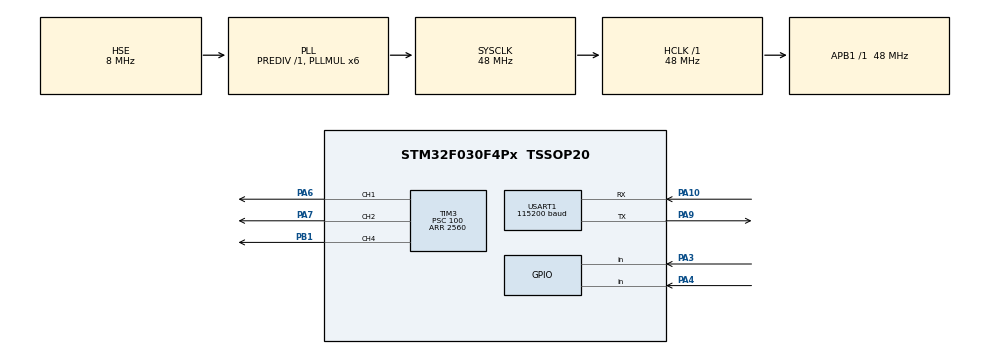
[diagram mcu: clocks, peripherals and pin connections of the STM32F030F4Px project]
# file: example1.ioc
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Mcu.Family=STM32F0
Mcu.Name=STM32F030F4Px
Mcu.Package=TSSOP20
NVIC.USART1_IRQn=true\:0\:0\:false\:false\:true\:true\:true\:true
PA10.Mode=Asynchronous
PA10.Signal=USART1_RX
PA13.Mode=Serial_Wire
PA13.Signal=SYS_SWDIO
PA14.Mode=Serial_Wire
PA14.Signal=SYS_SWCLK
PA3.GPIO_PuPd=GPIO_PULLUP
PA3.Signal=GPIO_Input
PA4.GPIO_PuPd=GPIO_PULLUP
PA4.Signal=GPIO_Input
PA6.Signal=S_TIM3_CH1
PA7.Signal=S_TIM3_CH2
PA9.Mode=Asynchronous
PA9.Signal=USART1_TX
PB1.Signal=S_TIM3_CH4
PF0-OSC_IN.Mode=HSE-External-Oscillator
PF0-OSC_IN.Signal=RCC_OSC_IN
PF1-OSC_OUT.Mode=HSE-External-Oscillator
PF1-OSC_OUT.Signal=RCC_OSC_OUT
ProjectManager.HeapSize=0x200
ProjectManager.StackSize=0x400
ProjectManager.TargetToolchain=MDK-ARM V5.32
RCC.AHBFreq_Value=48000000
RCC.APB1Freq_Value=48000000
RCC.APB1TimFreq_Value=48000000
RCC.HCLKFreq_Value=48000000
RCC.PLLMUL=RCC_PLL_MUL6
RCC.PLLSourceVirtual=RCC_PLLSOURCE_HSE
RCC.SYSCLKFreq_VALUE=48000000
RCC.SYSCLKSource=RCC_SYSCLKSOURCE_PLLCLK
SH.S_TIM3_CH1.0=TIM3_CH1,PWM Generation1 CH1
SH.S_TIM3_CH2.0=TIM3_CH2,PWM Generation2 CH2
SH.S_TIM3_CH4.0=TIM3_CH4,PWM Generation4 CH4
TIM3.Channel-PWM\ Generation1\ CH1=TIM_CHANNEL_1
TIM3.Channel-PWM\ Generation2\ CH2=TIM_CHANNEL_2
TIM3.Channel-PWM\ Generation4\ CH4=TIM_CHANNEL_4
TIM3.Period=2560
TIM3.Prescaler=100
USART1.BaudRate=115200
USART1.VirtualMode-Asynchronous=VM_ASYNC
board=custom

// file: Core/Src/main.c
/* USER CODE BEGIN Header */
/**
  ******************************************************************************
  * @file           : main.c
  * @brief          : Main program body
  ******************************************************************************
  * @attention
  *
  * Copyright (c) 2025 STMicroelectronics.
  * All rights reserved.
  *
  * This software is licensed under terms that can be found in the LICENSE file
  * in the root directory of this software component.
  * If no LICENSE file comes with this software, it is provided AS-IS.
  *
  ******************************************************************************
  */
/* USER CODE END Header */
#include "main.h"

/* USER CODE BEGIN Includes */
#include "wexcube.h"
#include "ds18b20.h"
/* USER CODE END Includes */

/* USER CODE BEGIN PD */
// 设备控制页面控件ID
#define TEXT_ID       2   // 文本框 ID
#define SWITCH_ID     5   // 开关ID
#define SLIDER_ID     7   // 滑动条ID
#define COLOR1_ID			9		// 颜色1
#define COLOR2_ID			10	// 颜色2
#define COLOR3_ID			11	// 颜色3
#define COLOR4_ID			12	// 颜色4
#define COLOR5_ID			13	// 颜色5
#define COLOR6_ID			14	// 颜色6
#define COLOR7_ID			15	// 颜色7
#define COLOR8_ID			16	// 颜色8
#define COLOR9_ID			17	// 颜色9
#define COLOR10_ID		18	// 颜色10
#define MODEL1_ID			20	// 模式1
#define MODEL2_ID			22	// 模式2
/* USER CODE END PD */

TIM_HandleTypeDef htim3;

UART_HandleTypeDef huart1;

void SystemClock_Config(void);
static void MX_GPIO_Init(void);
static void MX_TIM3_Init(void);
static void MX_USART1_UART_Init(void);
static void MX_NVIC_Init(void);
/* USER CODE BEGIN PFP */
static void updateLED(wex_u8_t ucRed, wex_u8_t ucGreen, wex_u8_t ucBlue, wex_u8_t ucLevel);
/* USER CODE END PFP */

int main(void)
{

  /* USER CODE BEGIN 1 */
	wex_u8_t lightOn		= 0;
  wex_u8_t lightLevel = 0;
	wex_u8_t model 			= 0;			// 0 - 正常，1 - 呼吸
	wex_u8_t ledRGB[3] 	= {255, 255, 255};
  /* USER CODE END 1 */

  /* MCU Configuration--------------------------------------------------------*/

  /* Reset of all peripherals, Initializes the Flash interface and the Systick. */
  HAL_Init();

  /* Configure the system clock */
  SystemClock_Config();

  /* Initialize all configured peripherals */
  MX_GPIO_Init();
  MX_TIM3_Init();
  MX_USART1_UART_Init();

	/* Initialize interrupts */
  MX_NVIC_Init();
  /* USER CODE BEGIN 2 */

	HAL_TIM_PWM_Start(&htim3, TIM_CHANNEL_1);
	HAL_TIM_PWM_Start(&htim3, TIM_CHANNEL_2);
	HAL_TIM_PWM_Start(&htim3, TIM_CHANNEL_4);

	wex_init();
	wex_start();

	// 开启接收中断
	__HAL_UART_ENABLE_IT(&huart1, UART_IT_RXNE);

  /* USER CODE END 2 */

  /* Infinite loop */
  /* USER CODE BEGIN WHILE */
  while (1)
  {
		const t_sWexCmd *pWexCmd = wex_process();
    switch (pWexCmd->eCmdType)
    {
			case eWexCmd_Connect:       		// WeXCube 连接指令
			{
				wex_setValue(SWITCH_ID, lightOn);
				wex_setValue(SLIDER_ID, lightLevel);
				if (model == 0)
				{
					wex_setBackColor(MODEL1_ID, eWexColor_Green);
					wex_setBackColor(MODEL2_ID, eWexColor_Gray2);
				}
				else
				{
					wex_setBackColor(MODEL1_ID, eWexColor_Gray2);
					wex_setBackColor(MODEL2_ID, eWexColor_Green);
				}
			}
      break;

			case eWexCmd_Event:         // 控件事件触发
      {
        switch (pWexCmd->ucCtrlId)
        {
					case SWITCH_ID:         // 开关控件
					{
						if (pWexCmd->ucValue)
						{
							lightOn     = 1;
							lightLevel  = 25;
						}
						else
						{
							lightOn     = 0;
							lightLevel  = 0;
						}
						wex_setValue(SLIDER_ID, lightLevel);
						updateLED(ledRGB[0], ledRGB[1], ledRGB[2], lightLevel);
					}
          break;

					case SLIDER_ID:          // 滑动条控件
					{
						lightLevel = pWexCmd->ucValue;
						if (lightLevel)
						{
							if (!lightOn)
							{
								lightOn = 1;
								wex_setValue(SWITCH_ID, 1);
							}
						}
						else
						{
							if (lightOn)
							{
								lightOn = 0;
								wex_setValue(SWITCH_ID, 0);
							}
						}
						updateLED(ledRGB[0], ledRGB[1], ledRGB[2], lightLevel);
					}
					break;

					case COLOR1_ID:					// 颜色控件
					case COLOR2_ID:					// 颜色控件
					case COLOR3_ID:					// 颜色控件
					case COLOR4_ID:					// 颜色控件
					case COLOR5_ID:					// 颜色控件
					case COLOR6_ID:					// 颜色控件
					case COLOR7_ID:					// 颜色控件
					case COLOR8_ID:					// 颜色控件
					case COLOR9_ID:					// 颜色控件
					case COLOR10_ID:				// 颜色控件
					{
						wex_askBackRGB(pWexCmd->ucCtrlId);	// 询问控件的背景颜色
					}
					break;

					case MODEL1_ID:					// 灯光模式控件1
					{
						model = 0;
						wex_setBackColor(MODEL1_ID, eWexColor_Green);
						wex_setBackColor(MODEL2_ID, eWexColor_Gray2);
						if (lightOn == 1) updateLED(ledRGB[0], ledRGB[1], ledRGB[2], lightLevel);
					}
					break;

					case MODEL2_ID:					// 灯光模式控件2
					{
						model = 1;
						wex_setBackColor(MODEL1_ID, eWexColor_Gray2);
						wex_setBackColor(MODEL2_ID, eWexColor_Green);
					}
					break;

					default:
					break;
				}
      }
      break;

			case eWexCmd_BackRGB:				// 控件背景 RGB 颜色
			{
				// 根据控件背景颜色设置 LED 颜色
				ledRGB[0] = pWexCmd->sColor.ucR;
				ledRGB[1] = pWexCmd->sColor.ucG;
				ledRGB[2] = pWexCmd->sColor.ucB;
				updateLED(ledRGB[0], ledRGB[1], ledRGB[2], lightLevel);
			}
			break;

			default:
      break;
    }

    // 板子上按键处理
    if (HAL_GPIO_ReadPin(GPIOA, GPIO_PIN_4) == GPIO_PIN_RESET)
    {
      HAL_Delay(20);
      if (HAL_GPIO_ReadPin(GPIOA, GPIO_PIN_4) == GPIO_PIN_RESET)
      {
        if (lightOn)
        {
          lightOn     = 0;
          if (wex_getConnectState())
          {
            wex_setValue(SWITCH_ID, 0);
            wex_setValue(SLIDER_ID, 0);
          }
					updateLED(ledRGB[0], ledRGB[1], ledRGB[2], 0);
        }
        else
        {
          lightOn     = 1;
          lightLevel  = lightLevel == 0 ? 25 : lightLevel;
          if (wex_getConnectState())
          {
            wex_setValue(SWITCH_ID, 1);
            wex_setValue(SLIDER_ID, lightLevel);
          }
					updateLED(ledRGB[0], ledRGB[1], ledRGB[2], lightLevel);
        }

        // 等待按键释放
			  while(HAL_GPIO_ReadPin(GPIOA, GPIO_PIN_4) == GPIO_PIN_RESET);
			}
		}

		HAL_Delay(10);

		// 如果灯光模式为1-呼吸，则持续改变灯光亮度
		if ((model == 1) && (lightOn == 1))
		{
			static wex_u32_t cnt = 0;
			static wex_u8_t level = 0;
			static wex_u8_t dir = 0;
			cnt++;
			// 3 * 10 = 30ms 更新一次温度值
			if (cnt >= 3)
			{
				cnt = 0;
				if (dir)
				{
					if (level >= lightLevel) dir = 0;
					else level++;
				}
				else
				{
					if (level == 0) dir = 1;
					else level--;
				}
				updateLED(ledRGB[0], ledRGB[1], ledRGB[2], level);
			}
		}

		// 读取温度值
		if (1)
		{
			static wex_u32_t cnt = 0;
			cnt++;
			// 50 * 10 = 500ms 更新一次温度值
			if (cnt >= 50)
			{
				wex_f32_t tempC = DS18B20_GetTemperature();
				cnt = 0;
				// 上传温度值
				if (wex_getConnectState()) wex_setText(TEXT_ID, wex_floatToStr(tempC, 1));
			}
		}
    /* USER CODE END WHILE */

  }
}

void SystemClock_Config(void)
{
  RCC_OscInitTypeDef RCC_OscInitStruct = {0};
  RCC_ClkInitTypeDef RCC_ClkInitStruct = {0};
  RCC_PeriphCLKInitTypeDef PeriphClkInit = {0};

  /** Initializes the RCC Oscillators according to the specified parameters
  * in the RCC_OscInitTypeDef structure.
  */
  RCC_OscInitStruct.OscillatorType = RCC_OSCILLATORTYPE_HSE;
  RCC_OscInitStruct.HSEState = RCC_HSE_ON;
  RCC_OscInitStruct.PLL.PLLState = RCC_PLL_ON;
  RCC_OscInitStruct.PLL.PLLSource = RCC_PLLSOURCE_HSE;
  RCC_OscInitStruct.PLL.PLLMUL = RCC_PLL_MUL6;
  RCC_OscInitStruct.PLL.PREDIV = RCC_PREDIV_DIV1;
  if (HAL_RCC_OscConfig(&RCC_OscInitStruct) != HAL_OK)
  {
    Error_Handler();
  }

  /** Initializes the CPU, AHB and APB buses clocks
  */
  RCC_ClkInitStruct.ClockType = RCC_CLOCKTYPE_HCLK|RCC_CLOCKTYPE_SYSCLK
                              |RCC_CLOCKTYPE_PCLK1;
  RCC_ClkInitStruct.SYSCLKSource = RCC_SYSCLKSOURCE_PLLCLK;
  RCC_ClkInitStruct.AHBCLKDivider = RCC_SYSCLK_DIV1;
  RCC_ClkInitStruct.APB1CLKDivider = RCC_HCLK_DIV1;

  if (HAL_RCC_ClockConfig(&RCC_ClkInitStruct, FLASH_LATENCY_1) != HAL_OK)
  {
    Error_Handler();
  }
  PeriphClkInit.PeriphClockSelection = RCC_PERIPHCLK_USART1;
  PeriphClkInit.Usart1ClockSelection = RCC_USART1CLKSOURCE_PCLK1;
  if (HAL_RCCEx_PeriphCLKConfig(&PeriphClkInit) != HAL_OK)
  {
    Error_Handler();
  }
}

/**
  * @brief NVIC Configuration.
  * @retval None
  */
static void MX_NVIC_Init(void)
{
  /* USART1_IRQn interrupt configuration */
  HAL_NVIC_SetPriority(USART1_IRQn, 1, 0);
  HAL_NVIC_EnableIRQ(USART1_IRQn);
}

static void MX_TIM3_Init(void)
{

  TIM_MasterConfigTypeDef sMasterConfig = {0};
  TIM_OC_InitTypeDef sConfigOC = {0};

  htim3.Instance = TIM3;
  htim3.Init.Prescaler = 20;
  htim3.Init.CounterMode = TIM_COUNTERMODE_UP;
  htim3.Init.Period = 256 * 50;
  htim3.Init.ClockDivision = TIM_CLOCKDIVISION_DIV1;
  htim3.Init.AutoReloadPreload = TIM_AUTORELOAD_PRELOAD_DISABLE;
  if (HAL_TIM_PWM_Init(&htim3) != HAL_OK)
  {
    Error_Handler();
  }
  sMasterConfig.MasterOutputTrigger = TIM_TRGO_RESET;
  sMasterConfig.MasterSlaveMode = TIM_MASTERSLAVEMODE_DISABLE;
  if (HAL_TIMEx_MasterConfigSynchronization(&htim3, &sMasterConfig) != HAL_OK)
  {
    Error_Handler();
  }
  sConfigOC.OCMode = TIM_OCMODE_PWM1;
  sConfigOC.Pulse = 0;
  sConfigOC.OCPolarity = TIM_OCPOLARITY_HIGH;
  sConfigOC.OCFastMode = TIM_OCFAST_DISABLE;
  if (HAL_TIM_PWM_ConfigChannel(&htim3, &sConfigOC, TIM_CHANNEL_1) != HAL_OK)
  {
    Error_Handler();
  }
  if (HAL_TIM_PWM_ConfigChannel(&htim3, &sConfigOC, TIM_CHANNEL_2) != HAL_OK)
  {
    Error_Handler();
  }
  if (HAL_TIM_PWM_ConfigChannel(&htim3, &sConfigOC, TIM_CHANNEL_4) != HAL_OK)
  {
    Error_Handler();
  }
  HAL_TIM_MspPostInit(&htim3);

}

static void MX_USART1_UART_Init(void)
{

  huart1.Instance = USART1;
  huart1.Init.BaudRate = 115200;
  huart1.Init.WordLength = UART_WORDLENGTH_8B;
  huart1.Init.StopBits = UART_STOPBITS_1;
  huart1.Init.Parity = UART_PARITY_NONE;
  huart1.Init.Mode = UART_MODE_TX_RX;
  huart1.Init.HwFlowCtl = UART_HWCONTROL_NONE;
  huart1.Init.OverSampling = UART_OVERSAMPLING_16;
  huart1.Init.OneBitSampling = UART_ONE_BIT_SAMPLE_DISABLE;
  huart1.AdvancedInit.AdvFeatureInit = UART_ADVFEATURE_NO_INIT;
  if (HAL_UART_Init(&huart1) != HAL_OK)
  {
    Error_Handler();
  }

}

static void MX_GPIO_Init(void)
{
  GPIO_InitTypeDef GPIO_InitStruct = {0};

  /* GPIO Ports Clock Enable */
  __HAL_RCC_GPIOF_CLK_ENABLE();
  __HAL_RCC_GPIOA_CLK_ENABLE();
  __HAL_RCC_GPIOB_CLK_ENABLE();

  /*Configure GPIO pins : PA3 PA4 */
  GPIO_InitStruct.Pin = GPIO_PIN_3|GPIO_PIN_4;
  GPIO_InitStruct.Mode = GPIO_MODE_INPUT;
  GPIO_InitStruct.Pull = GPIO_PULLUP;
  HAL_GPIO_Init(GPIOA, &GPIO_InitStruct);

}

/* USER CODE BEGIN 4 */
/**
  * @brief LED 颜色、亮度更新
  * @param ucRed 红色分量
  * @param ucGreen 绿色分量
  * @param ucBlue 蓝色分量
  * @param ucLevel 亮度
  * @retval None
  */
static void updateLED(wex_u8_t ucRed, wex_u8_t ucGreen, wex_u8_t ucBlue, wex_u8_t ucLevel)
{
	__HAL_TIM_SET_COMPARE(&htim3, TIM_CHANNEL_1, ucLevel * ucRed);
	__HAL_TIM_SET_COMPARE(&htim3, TIM_CHANNEL_2, ucLevel * ucGreen);
	__HAL_TIM_SET_COMPARE(&htim3, TIM_CHANNEL_4, ucLevel * ucBlue);
}

/* USER CODE END 4 */

void Error_Handler(void)
{
  __disable_irq();
  while (1)
  {
  }
}
